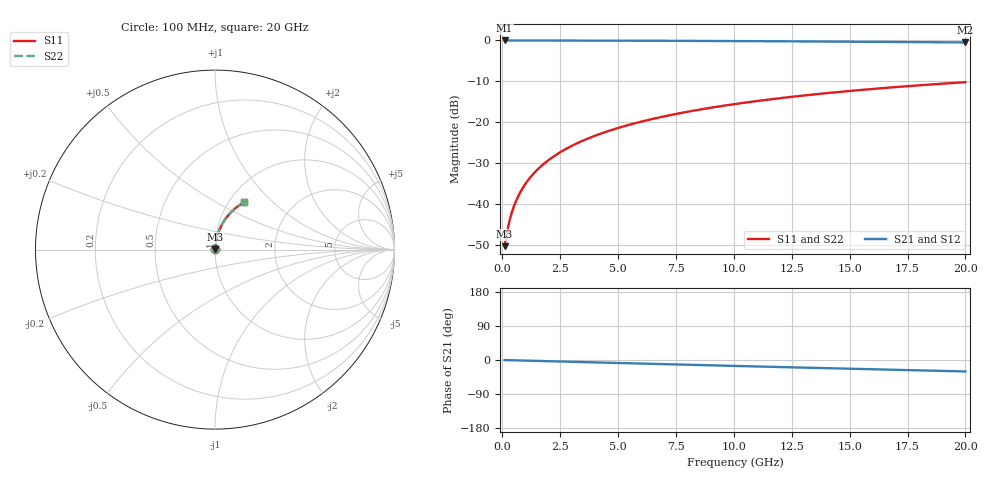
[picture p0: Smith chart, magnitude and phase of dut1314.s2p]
! Touchstone file exported from HFSS 2026.1.0
!  File:  C:/ffzhzh/LocalFiles/Ansys_Project_Files/temp_train_TMRDL_1314_1783164916_18472.aedt
!  Generated:  07:36:32 PM Jul  4, 2026
!  Design:  TMRDL
!  Project:  temp_train_TMRDL_1314_1783164916_18472
! Variables:
!  h_bsmrdl = 2um
!  h_ox = 20um
!  h_rdl = 5um
!  h_sub = 80um
!  h_tmrdl = 2.69um
!  h_tsv = 80um
!  h_via = 3um
!  l_bsmrdl = 300um
!  l_sub = 791.72um
!  l_tmrdl = 391.72um
!  m_sub = 200um
!  pitch = 53.95um
!  r_tsv = 6um
!  s_tmrdl = 10um
!  w_bsmrdl = 18um
!  w_sub = 500um
!  w_tmrdl = 23.79um
!  x_tsv_center1 = 403.615um
!  x_tsv_center2 = 721.615um
!  x_tsv_center3 = 1137.125um
!  x_tsv_center4 = 1455.125um
!  x_tsv_center5 = 1870.635um
!  x_tsv_center6 = 2188.635um
# GHz S MA R 50.000000
! Terminal data exported
! Port[1] = TM_RDL1_1_T1
! Port[2] = TM_RDL1_1_T2
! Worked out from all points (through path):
!   200 points, 100 MHz to 20 GHz, reference 50 ohm
!   highest |S21| = -0.02 dB at 100 MHz (marker M1); lowest = -0.5 dB at 20 GHz (marker M2)
!   group delay of S21, straight-line fit = 4.2 ps
!   lowest |S11| = -50.2 dB at 100 MHz (marker M3), VSWR 1.01, Z = 50.2 + j0.188 ohm
!   |S11| at or under -10 dB: start of sweep to end of sweep
!   |S22| runs from -50.2 to -10.2 dB; largest |S21 - S12| = 3.4e-15
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0.1  0.003089 37.2  0.9975 -0.2  0.9975 -0.2  0.003089 37.2
! Gamma 0 0 0 0
! Port Impedance 50 0 50 0
0.2  0.004502 55.4  0.9975 -0.3  0.9975 -0.3  0.004502 55.4
0.3  0.006116 63.9  0.9973 -0.5  0.9973 -0.5  0.006116 63.9
0.4  0.007774 68.7  0.9972 -0.7  0.9972 -0.7  0.007774 68.7
0.5  0.009438 71.7  0.9971 -0.8  0.9971 -0.8  0.009438 71.7
0.6  0.0111 73.8  0.997 -1.0  0.997 -1.0  0.0111 73.8
0.8  0.01444 76.6  0.9969 -1.3  0.9969 -1.3  0.01444 76.6
1.1  0.01947 79.0  0.9967 -1.8  0.9967 -1.8  0.01947 79.0
1.3  0.02284 79.9  0.9966 -2.1  0.9966 -2.1  0.02284 79.9
1.6  0.02791 80.8  0.9964 -2.6  0.9964 -2.6  0.02791 80.8
2.1  0.03639 81.4  0.996 -3.3  0.996 -3.3  0.03639 81.4
2.7  0.04658 81.5  0.9955 -4.3  0.9955 -4.3  0.04658 81.5
3.5  0.06014 81.0  0.9946 -5.5  0.9946 -5.5  0.06014 81.0
4.2  0.07196 80.4  0.9937 -6.6  0.9937 -6.6  0.07196 80.4
5  0.08538 79.5  0.9924 -7.9  0.9924 -7.9  0.08538 79.5
5.9  0.1004 78.3  0.9908 -9.3  0.9908 -9.3  0.1004 78.3
6.8  0.1152 77.1  0.9889 -10.7  0.9889 -10.7  0.1152 77.1
8.3  0.1395 75.0  0.9853 -13.0  0.9853 -13.0  0.1395 75.0
10.1  0.1681 72.4  0.9804 -15.8  0.9804 -15.8  0.1681 72.4
13.4  0.2182 67.6  0.9696 -20.7  0.9696 -20.7  0.2182 67.6
16.7  0.2653 63.0  0.9571 -25.5  0.9571 -25.5  0.2653 63.0
20  0.3091 58.4  0.9433 -30.2  0.9433 -30.2  0.3091 58.4
